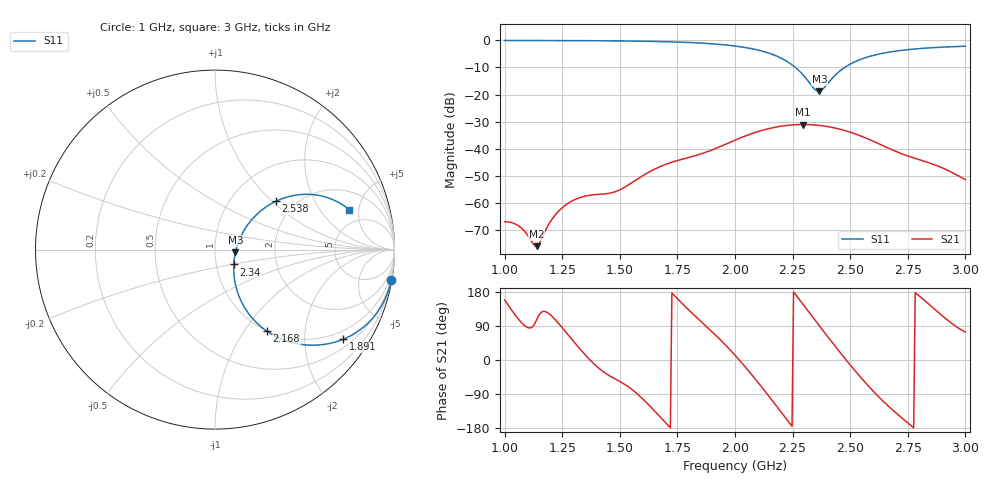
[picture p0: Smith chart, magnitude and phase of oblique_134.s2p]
! TOUCHSTONE file generated by CST MICROWAVE STUDIO
! Date and time: Tue Mar 18 00:02:14 2025
! Project name: oblique.cst
! Parameters = {Tilt=40; Fracture=1; B=10; D=160; F=15; Feed=2.85625; L=100; M=50; R=0.384908; S=1; Theta=180; length=57.125; wave=114.25}
! Header version: 2024
! Port assignment regex: !\s*Touchstone port\s*([0-9]+)\s*=\s*(CST MWS port|CST DES external port|CST DES block port)\s*(.+)\s* \(\"(.*)\"\)(\s*mode\s*([0-9]+))?.*
! Touchstone port assignment:
! Touchstone port 1 = CST MWS port 1 ("")
! Touchstone port 2 = CST MWS port 2 ("")
# GHz S DB R 50
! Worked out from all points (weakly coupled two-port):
!   304 points, 1 GHz to 3 GHz, reference 50 ohm
!   highest |S21| = -31.09 dB at 2.294 GHz (marker M1); lowest = -76.1 dB at 1.139 GHz (marker M2)
!   lowest |S11| = -18.8 dB at 2.366 GHz (marker M3), VSWR 1.26, Z = 62.8 - j1.92 ohm
!   |S11| at or under -10 dB: 2.262 GHz to 2.476 GHz (213.8 MHz wide, 9.02 % of centre)
!   S12 and S22 are empty: the file has one direction only
!   S11 on the Smith chart (normalised r, x): 1 GHz: 0, -12; 1.891 GHz: 0.72, -3.02; 2.168 GHz: 1.00, -1.28; 2.34 GHz: 1.22, -0.21; 2.538 GHz: 1.60, +1.06; 3 GHz: 3.46, +3.94
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1  -0.02 -9.8  -67.02 158.8  -200.00 0.0  -200.00 0.0
1.06601  -0.03 -10.7  -68.89 103.6  -200.00 0.0  -200.00 0.0
1.13861  -0.04 -11.8  -76.06 105.8  -200.00 0.0  -200.00 0.0
1.15182  -0.04 -12.0  -74.79 120.9  -200.00 0.0  -200.00 0.0
1.19802  -0.05 -12.7  -67.08 119.5  -200.00 0.0  -200.00 0.0
1.23102  -0.06 -13.3  -63.42 98.9  -200.00 0.0  -200.00 0.0
1.27723  -0.08 -14.1  -60.12 65.4  -200.00 0.0  -200.00 0.0
1.33663  -0.10 -15.3  -57.84 22.5  -200.00 0.0  -200.00 0.0
1.48845  -0.18 -18.8  -55.67 -52.8  -200.00 0.0  -200.00 0.0
1.66667  -0.41 -24.3  -46.96 -144.6  -200.00 0.0  -200.00 0.0
1.89109  -1.19 -35.0  -40.79 79.9  -200.00 0.0  -200.00 0.0
2.0033  -2.12 -42.7  -36.76 10.5  -200.00 0.0  -200.00 0.0
2.16832  -5.36 -57.5  -32.20 -112.0  -200.00 0.0  -200.00 0.0
2.23432  -8.23 -62.6  -31.35 -164.4  -200.00 0.0  -200.00 0.0
2.29373  -12.59 -60.3  -31.09 148.0  -200.00 0.0  -200.00 0.0
2.33993  -17.48 -38.3  -31.22 111.0  -200.00 0.0  -200.00 0.0
2.36634  -18.79 -7.5  -31.43 90.0  -200.00 0.0  -200.00 0.0
2.45875  -11.07 39.7  -32.89 18.0  -200.00 0.0  -200.00 0.0
2.53795  -7.25 38.4  -35.07 -40.4  -200.00 0.0  -200.00 0.0
2.66997  -4.31 30.4  -39.98 -124.1  -200.00 0.0  -200.00 0.0
2.88779  -2.55 20.1  -46.68 122.8  -200.00 0.0  -200.00 0.0
3  -2.16 16.5  -51.45 73.7  -200.00 0.0  -200.00 0.0
